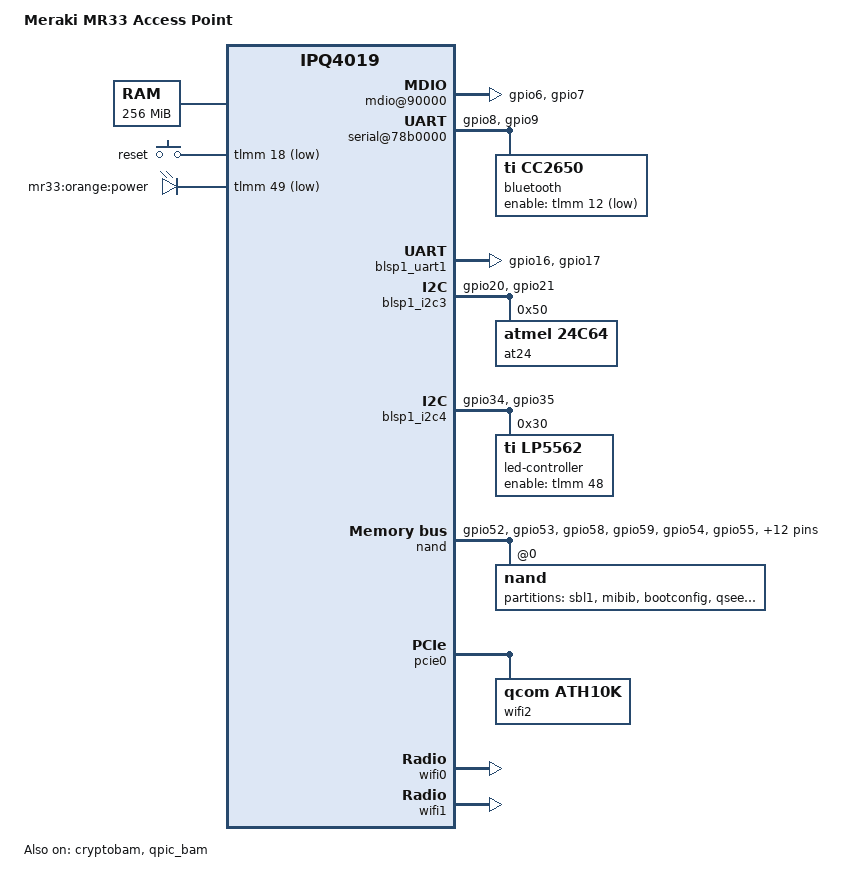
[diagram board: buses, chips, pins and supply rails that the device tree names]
// SPDX-License-Identifier: GPL-2.0
/*
 * Device Tree Source for Meraki MR33 (Stinkbug)
 *
 * Copyright (C) 2017 Chris Blake <chrisrblake93@gmail.com>
 * Copyright (C) 2017 Christian Lamparter <chunkeey@googlemail.com>
 *
 * Based on Cisco Meraki DTS from GPL release r25-linux-3.14-20170427
 *
 * This file is licensed under the terms of the GNU General Public
 * License version 2.  This program is licensed "as is" without
 * any warranty of any kind, whether express or implied.
 */

#include "qcom-ipq4019.dtsi"
#include <dt-bindings/gpio/gpio.h>
#include <dt-bindings/input/input.h>
#include <dt-bindings/soc/qcom,tcsr.h>

/ {
	model = "Meraki MR33 Access Point";
	compatible = "meraki,mr33";

	aliases {
		led-boot = &status_green;
		led-failsafe = &status_red;
		led-running = &status_green;
		led-upgrade = &power_orange;
	};

	/* Do we really need this defined? */
	memory {
		device_type = "memory";
		reg = <0x80000000 0x10000000>;
	};

	soc {
		rng@22000 {
			status = "okay";
		};

		mdio@90000 {
			status = "okay";
			pinctrl-0 = <&mdio_pins>;
			pinctrl-names = "default";
		};

		/* It is a 56-bit counter that supplies the count to the ARM arch
		   timers and without upstream driver */
		counter@4a1000 {
			compatible = "qcom,qca-gcnt";
			reg = <0x4a1000 0x4>;
		};

		ess_tcsr@1953000 {
			compatible = "qcom,tcsr";
			reg = <0x1953000 0x1000>;
			qcom,ess-interface-select = <TCSR_ESS_PSGMII_RGMII5>;
		};

		tcsr@1949000 {
			compatible = "qcom,tcsr";
			reg = <0x1949000 0x100>;
			qcom,wifi_glb_cfg = <TCSR_WIFI_GLB_CFG>;
		};

		tcsr@1957000 {
			compatible = "qcom,tcsr";
			reg = <0x1957000 0x100>;
			qcom,wifi_noc_memtype_m0_m2 = <TCSR_WIFI_NOC_MEMTYPE_M0_M2>;
		};

		serial@78b0000 {
			pinctrl-0 = <&serial_1_pins>;
			pinctrl-names = "default";
			status = "okay";

			bluetooth {
				compatible = "ti,cc2650";
				enable-gpios = <&tlmm 12 GPIO_ACTIVE_LOW>;
			};
		};

		crypto@8e3a000 {
			status = "okay";
		};

		watchdog@b017000 {
			status = "okay";
		};

		ess-switch@c000000 {
			switch_mac_mode = <0x3>; /* mac mode for RGMII RMII */
			switch_lan_bmp = <0x0>; /* lan port bitmap */
			switch_wan_bmp = <0x10>; /* wan port bitmap */
		};

		edma@c080000 {
			qcom,single-phy;
			qcom,num_gmac = <1>;
			phy-mode = "rgmii-rxid";
			status = "okay";
		};
	};

	keys {
		compatible = "gpio-keys";

		reset {
			label = "reset";
			gpios = <&tlmm 18 GPIO_ACTIVE_LOW>;
			linux,code = <KEY_RESTART>;
		};
	};

	leds {
		compatible = "gpio-leds";

		power_orange: power {
			label = "mr33:orange:power";
			gpios = <&tlmm 49 GPIO_ACTIVE_LOW>;
			panic-indicator;
		};
	};
};

&blsp_dma {
	status = "okay";
};

&blsp1_uart1 {
	pinctrl-0 = <&serial_0_pins>;
	pinctrl-names = "default";
	status = "okay";
};

&cryptobam {
	status = "okay";
};

&gmac0 {
	qcom,phy_mdio_addr = <1>;
	qcom,poll_required = <1>;
	vlan_tag = <0 0x20>;
};

&blsp1_i2c3 {
	pinctrl-0 = <&i2c_0_pins>;
	pinctrl-names = "default";
	status = "okay";
	at24@50 {
		compatible = "atmel,24c64";
		pagesize = <32>;
		reg = <0x50>;
		read-only; /* This holds our MAC & Meraki board-data */
	};
};

&blsp1_i2c4 {
	pinctrl-0 = <&i2c_1_pins>;
	pinctrl-names = "default";
	status = "okay";

	led-controller@30 {
		compatible = "ti,lp5562";
		reg = <0x30>;
		clock-mode = /bits/8 <2>;
		enable-gpio = <&tlmm 48 GPIO_ACTIVE_HIGH>;

		/* RGB led */
		status_red: chan0 {
			chan-name = "mr33:red:status";
			led-cur = /bits/ 8 <0x20>;
			max-cur = /bits/ 8 <0x60>;
		};

		status_green: chan1 {
			chan-name = "mr33:green:status";
			led-cur = /bits/ 8 <0x20>;
			max-cur = /bits/ 8 <0x60>;
		};

		chan2 {
			chan-name = "mr33:blue:status";
			led-cur = /bits/ 8 <0x20>;
			max-cur = /bits/ 8 <0x60>;
		};

		chan3 {
			chan-name = "mr33:white:status";
			led-cur = /bits/ 8 <0x20>;
			max-cur = /bits/ 8 <0x60>;
		};
	};
};

&nand {
	pinctrl-0 = <&nand_pins>;
	pinctrl-names = "default";
	status = "okay";

	nand@0 {
		partitions {
			compatible = "fixed-partitions";
			#address-cells = <1>;
			#size-cells = <1>;

			partition@0 {
				label = "sbl1";
				reg = <0x00000000 0x00100000>;
				read-only;
			};
			partition@100000 {
				label = "mibib";
				reg = <0x00100000 0x00100000>;
				read-only;
			};
			partition@200000 {
				label = "bootconfig";
				reg = <0x00200000 0x00100000>;
				read-only;
			};
			partition@300000 {
				label = "qsee";
				reg = <0x00300000 0x00100000>;
				read-only;
			};
			partition@400000 {
				label = "qsee_alt";
				reg = <0x00400000 0x00100000>;
				read-only;
			};
			partition@500000 {
				label = "cdt";
				reg = <0x00500000 0x00080000>;
				read-only;
			};
			partition@580000 {
				label = "cdt_alt";
				reg = <0x00580000 0x00080000>;
				read-only;
			};
			partition@600000 {
				label = "ddrparams";
				reg = <0x00600000 0x00080000>;
				read-only;
			};
			partition@700000 {
				label = "u-boot";
				reg = <0x00700000 0x00200000>;
				read-only;
			};
			partition@900000 {
				label = "u-boot-backup";
				reg = <0x00900000 0x00200000>;
				read-only;
			};
			partition@b00000 {
				label = "ART";
				reg = <0x00b00000 0x00080000>;
				read-only;
			};
			partition@c00000 {
				label = "ubi";
				reg = <0x00c00000 0x07000000>;
				/*
				 * Do not try to allocate the remaining
				 * 4 MiB to this ubi partition. It will
				 * confuse the u-boot and it might not
				 * find the kernel partition anymore.
				 */
			};
		};
	};
};

&pcie0 {
	status = "okay";
	perst-gpio = <&tlmm 38 GPIO_ACTIVE_LOW>;
	wake-gpio = <&tlmm 50 GPIO_ACTIVE_LOW>;

	bridge@0,0 {
		reg = <0x00000000 0 0 0 0>;
		#address-cells = <3>;
		#size-cells = <2>;
		ranges;

		wifi2: wifi@1,0 {
			compatible = "qcom,ath10k";
			status = "okay";
			reg = <0x00010000 0 0 0 0>;
		};
	};
};

&qpic_bam {
	status = "okay";
};

&tlmm {
	/*
	 * GPIO43 should be 0/1 whenever the unit is
	 * powered through PoE or AC-Adapter.
	 * That said, playing with this seems to
	 * reset the AP.
	 */

	mdio_pins: mdio_pinmux {
		mux_1 {
			pins = "gpio6";
			function = "mdio";
			bias-pull-up;
		};
		mux_2 {
			pins = "gpio7";
			function = "mdc";
			bias-pull-up;
		};
	};

	serial_0_pins: serial_pinmux {
		mux {
			pins = "gpio16", "gpio17";
			function = "blsp_uart0";
			bias-disable;
		};
	};

	serial_1_pins: serial1_pinmux {
		mux {
			/* We use the i2c-0 pins for serial_1 */
			pins = "gpio8", "gpio9";
			function = "blsp_uart1";
			bias-disable;
		};
	};

	i2c_0_pins: i2c_0_pinmux {
		pinmux {
			function = "blsp_i2c0";
			pins = "gpio20", "gpio21";
		};
		pinconf {
			pins = "gpio20", "gpio21";
			drive-strength = <16>;
			bias-disable;
		};
	};

	i2c_1_pins: i2c_1_pinmux {
		pinmux {
			function = "blsp_i2c1";
			pins = "gpio34", "gpio35";
		};
		pinconf {
			pins = "gpio34", "gpio35";
			drive-strength = <16>;
			bias-disable;
		};
	};

	nand_pins: nand_pins {
		/*
		 * There are 18 pins. 15 pins are common between LCD and NAND.
		 * The QPIC controller arbitrates between LCD and NAND. Of the
		 * remaining 4, 2 are for NAND and 2 are for LCD exclusively.
		 *
		 * The meraki source hints that the bluetooth module claims
		 * pin 52 as well. But sadly, there's no data whenever this
		 * is a NAND or LCD exclusive pin or not.
		 */

		pullups {
			pins = "gpio52", "gpio53", "gpio58",
				"gpio59";
			function = "qpic";
			bias-pull-up;
		};

		pulldowns {
			pins = "gpio54", "gpio55", "gpio56",
				"gpio57", "gpio60", "gpio61",
				"gpio62", "gpio63", "gpio64",
				"gpio65", "gpio66", "gpio67",
				"gpio68", "gpio69";
			function = "qpic";
			bias-pull-down;
		};
	};
};

&wifi0 {
	status = "okay";
	qcom,ath10k-calibration-variant = "Meraki-MR33";
};

&wifi1 {
	status = "okay";
	qcom,ath10k-calibration-variant = "Meraki-MR33";
};
